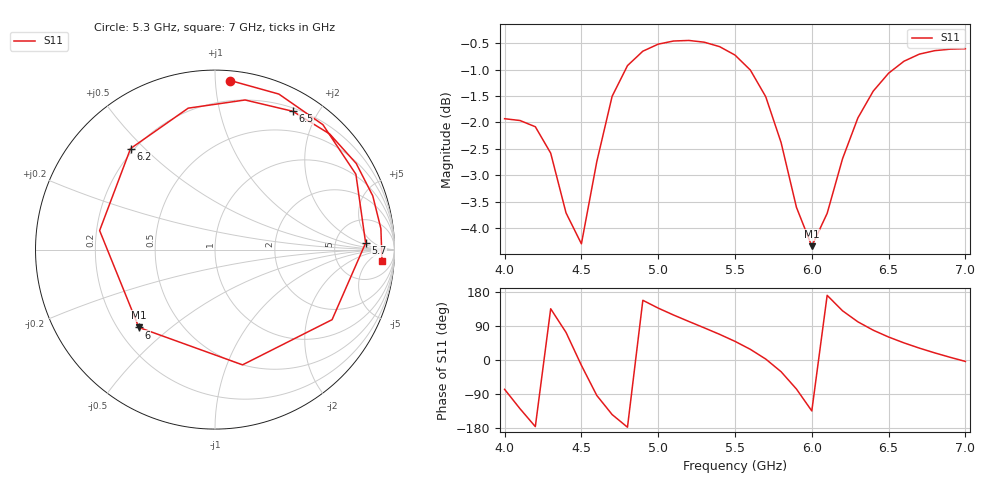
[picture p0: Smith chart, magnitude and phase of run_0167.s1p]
! Touchstone file exported from HFSS 2024.2.0
!  File:  C:/Users/wsak9/Desktop/Sim Fast/Widenad Patch/WP_AI_V1_sweep.aedt
!  Generated:  09:53:30 PM Oct 13, 2026
!  Design:  A1_model
!  Project:  WP_AI_V1_sweep
!  Setup:  Setup1
!  Solution:  Sweep
! Variables:
!  Air_gap = 2.37mm
!  Curve_Amp1 = 3.42
!  Curve_len1 = 1
!  Curve_pos = 13.17mm
!  Extra = 2.37mm
!  H_sub = 0.79mm
!  L_Patch = 22.34mm
!  L_Patch1 = 12.26mm
!  Sx = 3.14mm
!  Sy = 4.81mm
!  WS = 1mm
!  W_Patch = 13.46mm
!  W_Patch1 = 9.89mm
!Data is not renormalized
# GHz S MA
! Terminal data exported
! Port[1] = 1
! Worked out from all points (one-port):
!   31 points, 4 GHz to 7 GHz, reference per port
!   lowest |S11| = -4.3 dB at 6 GHz (marker M1), VSWR 4.08
!   |S11| at or under -10 dB: nowhere
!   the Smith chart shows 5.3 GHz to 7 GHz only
!   S11 on the Smith chart (normalised r, x): 5.3 GHz: 0.06, +1.09; 5.7 GHz: 11, +3; 6 GHz: 0.29, -0.39; 6.2 GHz: 0.19, +0.45; 6.5 GHz: 0.24, +1.68; 7 GHz: 15, -14
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4  0.8007 -77.4
4.1  0.7976 -128.5
4.2  0.7868 -175.8
4.3  0.7429 135.2
4.4  0.6521 72.7
4.5  0.6097 -14.1
4.6  0.7289 -93.5
4.7  0.8407 -144.0
4.8  0.8988 -177.4
4.9  0.9275 157.6
5  0.9419 136.9
5.1  0.9483 118.7
5.2  0.9495 101.6
5.3  0.9459 84.8
5.4  0.9367 67.7
5.5  0.9197 49.2
5.6  0.8902 28.1
5.7  0.84 2.5
5.8  0.7602 -30.9
5.9  0.6602 -76.6
6  0.6066 -134.4
6.1  0.6515 170.6
6.2  0.7337 129.9
6.3  0.802 100.7
6.4  0.8503 78.6
6.5  0.8841 60.7
6.7  0.9216 31.4
7  0.9325 -3.8
